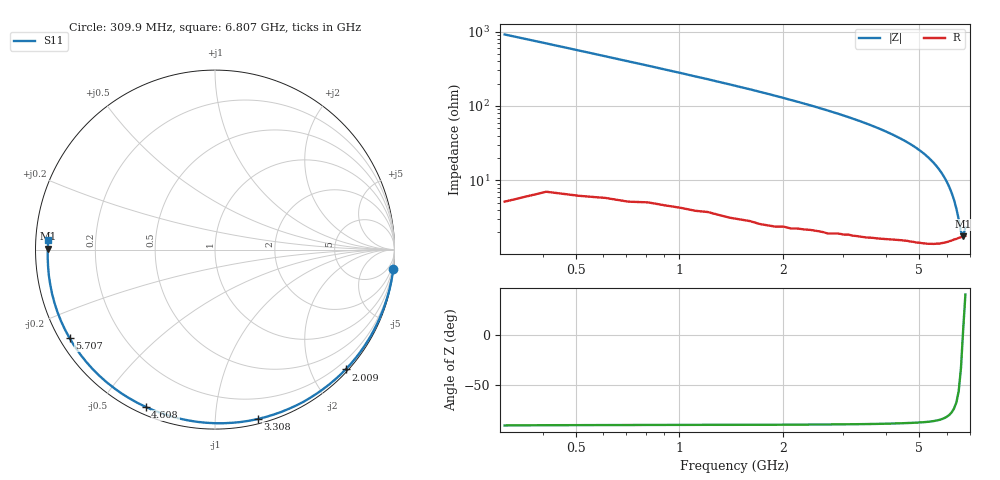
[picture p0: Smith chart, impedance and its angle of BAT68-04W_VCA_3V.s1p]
! Infineon Technologies  Discrete & RF Semiconductors
! BAT68-04W
! VCA = 3 V
! One-Port S-Parameters
# Hz  S  MA  R  50
!f  S11
!Hz  Mag  Ang
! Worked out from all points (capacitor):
!   66 points, 309.9 MHz to 6.807 GHz, reference 50 ohm
!   read as one part to ground: C = 558 fF near 309.9 MHz
!   lowest |Z| = 1.78 ohm at 6.707 GHz (marker M1)
!   series resonance near 6.694 GHz, so ESL is about 1 nH
!   S11 on the Smith chart (normalised r, x): 309.9 MHz: 0, -18; 2.009 GHz: 0.05, -2.57; 3.308 GHz: 0.04, -1.28; 4.608 GHz: 0.03, -0.65; 5.707 GHz: 0.03, -0.28; 6.807 GHz: 0.04, +0.03
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3.0985e8  0.9994 -6.3
7.0965e8  0.9968 -14.3
1.0095e9  0.9946 -20.4
1.2094e9  0.9932 -24.6
1.6092e9  0.9907 -33.3
1.8091e9  0.9896 -37.9
2.009e9  0.9875 -42.5
2.2089e9  0.9856 -47.3
2.4088e9  0.9833 -52.3
2.8086e9  0.9793 -62.5
3.0085e9  0.9769 -67.8
3.30835e9  0.9734 -75.9
3.6082e9  0.9698 -84.3
3.8081e9  0.9674 -90.0
4.008e9  0.9647 -95.9
4.2079e9  0.962 -101.8
4.4078e9  0.9596 -107.7
4.6077e9  0.9575 -113.8
4.90755e9  0.9557 -123.0
5.2074e9  0.9534 -132.5
5.4073e9  0.9518 -138.9
5.70715e9  0.9488 -148.7
5.90705e9  0.9458 -155.2
6.007e9  0.9442 -158.4
6.2069e9  0.9405 -164.9
6.4068e9  0.9368 -171.2
6.70665e9  0.9317 179.6
6.8066e9  0.9301 176.5
